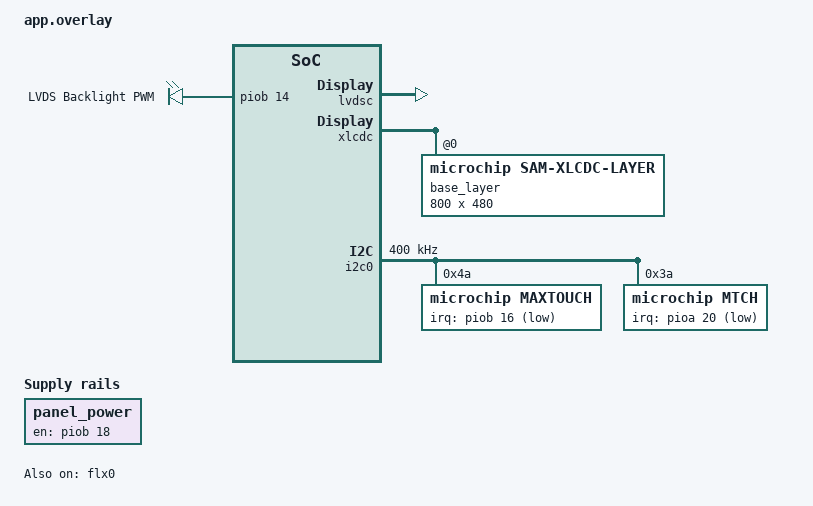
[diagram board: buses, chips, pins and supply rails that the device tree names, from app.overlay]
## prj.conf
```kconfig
# Enable Logging
CONFIG_LOG=y
#CONFIG_LOG_MODE_IMMEDIATE=y
CONFIG_DISPLAY_LOG_LEVEL_INF=y

# Enable Display Subsystem
CONFIG_DISPLAY=y

# Enable XLCDC driver
CONFIG_DISPLAY_MICROCHIP_SAM_XLCDC=y
CONFIG_DISPLAY_MICROCHIP_SAM_XLCDC_LAYER=y

# Enable LVDSC bridge driver
CONFIG_DISPLAY_MICROCHIP_SAM_LVDSC=y

# Kernel VM must cover heap (16MB) + kernel code/data/stacks
CONFIG_KERNEL_VM_SIZE=0x2000000

# Main thread stack for LVGL rendering (default is too small)
CONFIG_MAIN_STACK_SIZE=16384

# Enable double-buffering for tear-free display
CONFIG_MICROCHIP_SAM_XLCDC_DOUBLE_BUFFER=y

# Heap for dynamic framebuffer allocation (base layer RGB565 x 2 buffers)
CONFIG_HEAP_MEM_POOL_SIZE=4194304

# FLEXCOM MFD (sets FLEX_MR to TWI/SPI/USART mode)
CONFIG_MFD=y

# Panel power regulator (PB18 enable before touch init)
CONFIG_REGULATOR=y

# Input / Touch
CONFIG_INPUT=y
CONFIG_INPUT_MODE_SYNCHRONOUS=y

# Microchip MTCH driver
CONFIG_INPUT_MICROCHIP_MTCH=y
CONFIG_INPUT_MICROCHIP_MTCH_PERIOD_MS=5

# LVGL (zero-copy: LVGL owns buffers, driver pointer-swaps DMA address)
CONFIG_LVGL=y
CONFIG_LV_Z_FULL_REFRESH=y
CONFIG_LV_Z_VDB_SIZE=100
CONFIG_LV_Z_DOUBLE_VDB=y
CONFIG_LV_Z_FLUSH_THREAD=y
CONFIG_LV_Z_MEM_POOL_SIZE=524288
CONFIG_LV_COLOR_DEPTH_16=y
CONFIG_LV_DPI_DEF=128
CONFIG_LV_FONT_MONTSERRAT_14=y
CONFIG_LV_FONT_MONTSERRAT_20=y
CONFIG_LV_FONT_MONTSERRAT_28=y
```

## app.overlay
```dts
#include <zephyr/dt-bindings/gpio/gpio.h>
#include <zephyr/dt-bindings/interrupt-controller/arm-gic.h>
#include <zephyr/dt-bindings/i2c/i2c.h>
#include <zephyr/dt-bindings/mfd/mfd_mchp_sam_flexcom.h>

&pinctrl {
    flx0_i2c_default: flx0_i2c_default {
        group1 {
            pinmux = <PIN_PC7__FLEXCOM0_IO0>,  /* SDA */
                     <PIN_PC6__FLEXCOM0_IO1>;  /* SCL */
            bias-pull-up;
        };
    };
};

&flx0 {
    mchp,flexcom-mode = <SAM_FLEXCOM_MODE_TWI>;
    status = "okay";

    i2c0: i2c0@600 {
        pinctrl-0 = <&flx0_i2c_default>;
        pinctrl-names = "default";
        clock-frequency = <I2C_BITRATE_FAST>;
        status = "okay";

        maxtouch: maxtouch@4a {
            compatible = "microchip,maxtouch";
            reg = <0x4a>;
            irq-gpios = <&piob 16 GPIO_ACTIVE_LOW>;
            screen-width = <800>;
            screen-height = <480>;
            max-touches = <5>;
            startup-delay-ms = <100>;
        };

        mtch: mtch@3a {
            compatible = "microchip,mtch";
            reg = <0x3a>;
            irq-gpios = <&pioa 20 GPIO_ACTIVE_LOW>;
            startup-delay-ms = <100>;
            status = "okay";
        };
    };
};

/ {
    chosen {
        zephyr,display = &base_layer;
        zephyr,touch = &maxtouch;
    };
    panel_power: panel-power {
        compatible = "regulator-fixed";
        regulator-name = "panel-power";
        enable-gpios = <&piob 18 GPIO_ACTIVE_HIGH>;
        regulator-boot-on;
    };

    leds {
        compatible = "gpio-leds";

        gpio_lvds_pwm: led_piob_14 {
            gpios = <&piob 14 GPIO_ACTIVE_HIGH>;
            label = "LVDS Backlight PWM";
        };
    };

    lvdsc: lvdsc@e1408000 {
        compatible = "microchip,sam-lvdsc";
        status = "okay";
        reg = <0xe1408000 0x4000>;
        dpi-input-type = "24-bit";
        dc-mode = "unbalanced";
        mapping = "jeida";
        lane-a3-bit = <0>;
        dc-bias = <9>;
        pre-emphasis-clk = <0>;
        pre-emphasis-a0 = <0>;
        pre-emphasis-a1 = <0>;
        pre-emphasis-a2 = <0>;
        pre-emphasis-a3 = <0>;
    };

    xlcdc: xlcdc@e1400000 {
        compatible = "microchip,sama7d65-xlcdc";
        status = "okay";
        reg = <0xe1400000 0x4000>;
        interrupt-parent = <&gic>;
        interrupts = <GIC_SPI 56 IRQ_TYPE_LEVEL IRQ_DEFAULT_PRIORITY>;
        #address-cells = <1>;
        #size-cells = <0>;
        width = <800>;
        height = <480>;
        pixel-format = <3>;        /* RGB_565 */
        output-mode = "dpi-24";
        guard-time = <1>;
        backlight-pwm-source = "slow-clock";
        backlight-pwm-prescaler = <0>;
        backlight-brightness = <255>;
        port = <&lvdsc>;

        display-timings {
            compatible = "zephyr,panel-timing";
            clock-frequency = <25000000>;
            hsync-len = <5>;
            hfront-porch = <88>;
            hback-porch = <40>;
            vsync-len = <5>;
            vfront-porch = <23>;
            vback-porch = <1>;
            de-active = <0>;
            hsync-active = <1>;
            vsync-active = <1>;
            pixelclk-active = <0>;
        };

        base_layer: layer-base@0 {
            compatible = "microchip,sam-xlcdc-layer";
            reg = <0>;
            layer-type = "base";
            width = <800>;
            height = <480>;
            default-color = <0 0 0>;
            no-alloc-framebuffer;
        };
    };
};
```

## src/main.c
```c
/*
 * Copyright (c) 2026 Microchip Technology Inc.
 * SPDX-License-Identifier: Apache-2.0
 *
 * LCDC POC application with three tabs:
 *   1. LVGL widget demo (button counter, arc, slider)
 *   2. Multitouch visualizer using raw input events
 *   3. MTCH demo (wheel, sliders, buttons)
 *
 * This main.c is kept minimal - UI creation is delegated to:
 *   - ui/ui.c: Static layouts (editor-replaceable)
 *   - ui_touch.c: Dynamic touch indicators (must stay in C)
 *   - input_handlers.c: Hardware input callbacks (must stay in C)
 */

#include <zephyr/device.h>
#include <zephyr/drivers/display.h>
#include <zephyr/drivers/gpio.h>
#include <zephyr/kernel.h>
#include <zephyr/logging/log.h>

#include <lvgl.h>

#include "ui/ui.h"
#include "ui_touch.h"
#include "input_handlers.h"
#include "../../drivers/input/microchip_mtch.h"

LOG_MODULE_REGISTER(main_app, LOG_LEVEL_INF);

static const struct gpio_dt_spec lvds_pwm =
	GPIO_DT_SPEC_GET(DT_NODELABEL(gpio_lvds_pwm), gpios);

#define TOUCH_DEV DEVICE_DT_GET(DT_CHOSEN(zephyr_touch))
#define MTCH_DEV  DEVICE_DT_GET(DT_NODELABEL(mtch))

int main(void)
{
	int ret;

	LOG_INF("Setting up GPIOs...");

	if (!gpio_is_ready_dt(&lvds_pwm)) {
		LOG_ERR("GPIO not ready");
		return -ENODEV;
	}

	ret = gpio_pin_configure_dt(&lvds_pwm, GPIO_OUTPUT_ACTIVE);
	if (ret < 0) {
		return ret;
	}

	LOG_INF("LCDC POC Demo");

	const struct device *display_dev =
		DEVICE_DT_GET(DT_CHOSEN(zephyr_display));

	if (!device_is_ready(display_dev)) {
		LOG_ERR("Display device not ready");
		return -ENODEV;
	}

	if (!device_is_ready(TOUCH_DEV)) {
		LOG_ERR("Touch device not ready");
		return -ENODEV;
	}

	/* Initialize static UI (editor-replaceable) */
	ui_init();
	LOG_INF("Static UI initialized");

	/* Configure MTCH UI based on detected sensor */
	if (device_is_ready(MTCH_DEV)) {
		struct mtch_sensor_caps caps;
		if (mtch_get_sensor_caps(MTCH_DEV, &caps) == 0) {
			struct ui_mtch_config ui_cfg = {
				.num_buttons = caps.num_buttons,
				.button_mask = caps.button_mask,
				.num_sliders = caps.num_sliders,
				.has_wheel = caps.has_wheel,
			};
			ui_mtch_configure(&ui_cfg);
			LOG_INF("MTCH UI configured: %d buttons (mask=0x%03X), %d sliders",
				caps.num_buttons, caps.button_mask, caps.num_sliders);
		}
	}

	/* Initialize dynamic touch tab (must stay in C) */
	ui_touch_init(ui_get_touch_tab());
	LOG_INF("Touch UI initialized");

	/* Initialize input handlers */
	input_handlers_init();

	display_blanking_off(display_dev);

	LOG_INF("Entering main loop");

	while (1) {
		/* Update dynamic UI elements */
		ui_touch_update();
		input_handlers_update_mtch_ui();

		/* Process LVGL tasks */
		lv_timer_handler();
		k_sleep(K_MSEC(LV_DEF_REFR_PERIOD));
	}

	return 0;
}
```

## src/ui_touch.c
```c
/*
 * Copyright (c) 2026 Microchip Technology Inc.
 * SPDX-License-Identifier: Apache-2.0
 *
 * Dynamic touch visualization - MUST STAY IN C
 */

#include "ui_touch.h"

static const lv_color_t slot_colors[] = {
	LV_COLOR_MAKE(231, 76, 60),   /* Red */
	LV_COLOR_MAKE(46, 204, 113),  /* Green */
	LV_COLOR_MAKE(52, 152, 219),  /* Blue */
	LV_COLOR_MAKE(241, 196, 15),  /* Yellow */
	LV_COLOR_MAKE(155, 89, 182),  /* Purple */
	LV_COLOR_MAKE(230, 126, 34),  /* Orange */
	LV_COLOR_MAKE(26, 188, 156),  /* Teal */
	LV_COLOR_MAKE(236, 240, 241), /* White */
	LV_COLOR_MAKE(52, 73, 94),    /* Dark */
	LV_COLOR_MAKE(149, 165, 166), /* Gray */
};

struct touch_indicator {
	lv_obj_t *circle;
	lv_obj_t *id_label;
	lv_obj_t *coord_label;
};

static struct ui_touch_state touch_state;
static struct touch_indicator indicators[UI_TOUCH_MAX_POINTS];
static lv_obj_t *touch_tab_obj;
static lv_obj_t *count_label;
static lv_obj_t *max_label;
static lv_obj_t *hint_label;
static lv_obj_t *hold_btn;
static bool hold_mode;
static uint8_t max_touches;

struct ui_touch_state *ui_touch_get_state(void)
{
	return &touch_state;
}

static void hold_btn_cb(lv_event_t *e)
{
	hold_mode = !hold_mode;

	lv_obj_t *label = lv_obj_get_child(hold_btn, 0);

	if (hold_mode) {
		lv_label_set_text(label, "Hold: ON");
	} else {
		lv_label_set_text(label, "Hold: OFF");
		max_touches = 0;
	}
}

void ui_touch_init(lv_obj_t *parent)
{
	touch_tab_obj = parent;

	/* Title */
	lv_obj_t *title = lv_label_create(parent);
	lv_label_set_text(title, "Multitouch Test");
	lv_obj_set_style_text_font(title, &lv_font_montserrat_28, 0);
	lv_obj_align(title, LV_ALIGN_TOP_MID, 0, 10);

	/* Touch count labels */
	count_label = lv_label_create(parent);
	lv_label_set_text(count_label, "Active: 0");
	lv_obj_set_style_text_font(count_label, &lv_font_montserrat_20, 0);
	lv_obj_align(count_label, LV_ALIGN_TOP_MID, -60, 45);

	max_label = lv_label_create(parent);
	lv_label_set_text(max_label, "Max: 0");
	lv_obj_set_style_text_font(max_label, &lv_font_montserrat_20, 0);
	lv_obj_align(max_label, LV_ALIGN_TOP_MID, 60, 45);

	/* Hint */
	hint_label = lv_label_create(parent);
	lv_label_set_text(hint_label, "Touch the screen with 1..5 fingers");
	lv_obj_set_style_text_font(hint_label, &lv_font_montserrat_14, 0);
	lv_obj_set_style_text_opa(hint_label, LV_OPA_50, 0);
	lv_obj_align(hint_label, LV_ALIGN_TOP_MID, 0, 72);

	/* Hold toggle button */
	hold_btn = lv_btn_create(parent);
	lv_obj_set_size(hold_btn, 120, 40);
	lv_obj_align(hold_btn, LV_ALIGN_BOTTOM_MID, 0, -10);
	lv_obj_add_event_cb(hold_btn, hold_btn_cb, LV_EVENT_CLICKED, NULL);

	lv_obj_t *btn_label = lv_label_create(hold_btn);
	lv_label_set_text(btn_label, "Hold: OFF");
	lv_obj_center(btn_label);

	/* Pre-allocate indicator objects for each slot */
	for (int i = 0; i < UI_TOUCH_MAX_POINTS; i++) {
		struct touch_indicator *ind = &indicators[i];

		ind->circle = lv_obj_create(parent);
		lv_obj_set_size(ind->circle, UI_TOUCH_INDICATOR_SIZE, UI_TOUCH_INDICATOR_SIZE);
		lv_obj_set_style_radius(ind->circle, LV_RADIUS_CIRCLE, 0);
		lv_obj_set_style_bg_color(ind->circle, slot_colors[i], 0);
		lv_obj_set_style_bg_opa(ind->circle, LV_OPA_80, 0);
		lv_obj_set_style_border_color(ind->circle, lv_color_white(), 0);
		lv_obj_set_style_border_width(ind->circle, 2, 0);
		lv_obj_clear_flag(ind->circle, LV_OBJ_FLAG_CLICKABLE | LV_OBJ_FLAG_SCROLLABLE);
		lv_obj_add_flag(ind->circle, LV_OBJ_FLAG_HIDDEN);

		ind->id_label = lv_label_create(ind->circle);
		lv_label_set_text_fmt(ind->id_label, "%d", i);
		lv_obj_set_style_text_font(ind->id_label, &lv_font_montserrat_20, 0);
		lv_obj_align(ind->id_label, LV_ALIGN_CENTER, 0, -8);

		ind->coord_label = lv_label_create(ind->circle);
		lv_label_set_text(ind->coord_label, "");
		lv_obj_set_style_text_font(ind->coord_label, &lv_font_montserrat_14, 0);
		lv_obj_align(ind->coord_label, LV_ALIGN_CENTER, 0, 12);
	}
}

void ui_touch_update(void)
{
	if (!touch_tab_obj) {
		return;
	}

	lv_area_t tab_area;
	lv_obj_get_coords(touch_tab_obj, &tab_area);
	int32_t off_x = tab_area.x1;
	int32_t off_y = tab_area.y1;

	uint8_t active_count = 0;

	for (int i = 0; i < UI_TOUCH_MAX_POINTS; i++) {
		struct touch_indicator *ind = &indicators[i];

		if (touch_state.points[i].active) {
			int32_t x = touch_state.points[i].x;
			int32_t y = touch_state.points[i].y;

			lv_obj_set_pos(ind->circle,
				       x - off_x - UI_TOUCH_INDICATOR_SIZE / 2,
				       y - off_y - UI_TOUCH_INDICATOR_SIZE / 2);
			lv_label_set_text_fmt(ind->coord_label, "%d,%d", x, y);
			lv_obj_clear_flag(ind->circle, LV_OBJ_FLAG_HIDDEN);
			active_count++;
		} else if (!hold_mode) {
			lv_obj_add_flag(ind->circle, LV_OBJ_FLAG_HIDDEN);
		}
	}

	if (active_count > max_touches) {
		max_touches = active_count;
	}

	lv_label_set_text_fmt(count_label, "Active: %u", active_count);
	lv_label_set_text_fmt(max_label, "Max: %u", max_touches);

	if (active_count > 0) {
		lv_obj_add_flag(hint_label, LV_OBJ_FLAG_HIDDEN);
	} else if (!hold_mode) {
		lv_obj_clear_flag(hint_label, LV_OBJ_FLAG_HIDDEN);
	}
}
```

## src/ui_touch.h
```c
/*
 * Copyright (c) 2026 Microchip Technology Inc.
 * SPDX-License-Identifier: Apache-2.0
 *
 * Dynamic touch visualization - MUST STAY IN C
 *
 * This module handles the multitouch test tab with dynamically
 * created and positioned touch indicators. This cannot be replaced
 * by an editor because:
 *   - Touch indicators are created/hidden at runtime
 *   - Positions are updated based on live touch coordinates
 *   - Number of active indicators varies dynamically
 */

#ifndef UI_TOUCH_H
#define UI_TOUCH_H

#include <lvgl.h>

#ifdef __cplusplus
extern "C" {
#endif

#define UI_TOUCH_MAX_POINTS    10
#define UI_TOUCH_INDICATOR_SIZE 70

/*
 * Touch point state updated by input callbacks.
 */
struct ui_touch_point {
	int32_t x;
	int32_t y;
	bool active;
};

/*
 * Touch state structure for input handlers to update.
 */
struct ui_touch_state {
	struct ui_touch_point points[UI_TOUCH_MAX_POINTS];
	int32_t current_slot;
	int32_t pending_x;
	int32_t pending_y;
	bool has_x;
	bool has_y;
};

/*
 * Get the touch state for input handlers to update.
 */
struct ui_touch_state *ui_touch_get_state(void);

/*
 * Initialize touch tab with indicators.
 * Call after ui_init() with the touch tab container.
 */
void ui_touch_init(lv_obj_t *parent);

/*
 * Update touch indicator positions and visibility.
 * Call periodically from main loop.
 */
void ui_touch_update(void);

#ifdef __cplusplus
}
#endif

#endif /* UI_TOUCH_H */
```
